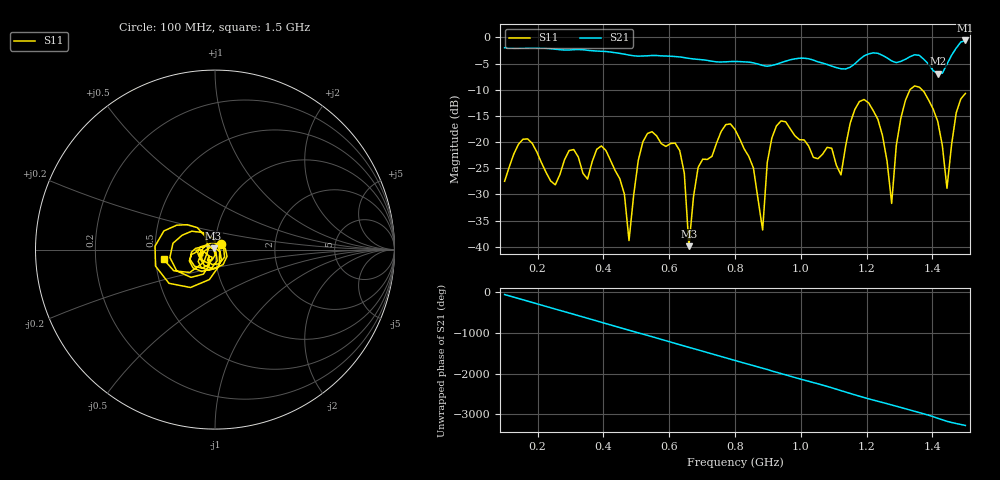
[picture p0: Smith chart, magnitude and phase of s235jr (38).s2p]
! NanoVNA-App
! Date: 2025-09-25 15:04:27
! Start: 100MHz Stop: 1,5GHz Points: 101
! S-Parameter data: F S11 S21 S12 S22
# Hz S RI R 50
!  Frequency  S11_Real  S11_Imag  S21_Real  S21_Imag  S12_Real  S12_Imag  S22_Real  S22_Imag
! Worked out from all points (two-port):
!   101 points, 100 MHz to 1.5 GHz, reference 50 ohm
!   highest |S21| = -0.59 dB at 1.5 GHz (marker M1); lowest = -6.9 dB at 1.416 GHz (marker M2)
!   |S21| within 3 dB of the highest: start of sweep to 599.1 MHz; 1.191 GHz to 1.253 GHz (61.61 MHz wide, 5.04 % of centre) (the widest 2 of 4)
!   lowest |S11| = -39.9 dB at 660 MHz (marker M3), VSWR 1.02, Z = 49.2 + j0.633 ohm
!   |S11| at or under -10 dB: start of sweep to 1.332 GHz; 1.368 GHz to end of sweep
!   S12 and S22 are empty: the file has one direction only
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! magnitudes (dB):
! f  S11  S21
! 100 MHz  -27.5  -2.0
! 156 MHz  -19.5  -2.1
! 338 MHz  -26.0  -2.4
! 408 MHz  -21.6  -2.7
! 478 MHz  -38.8  -3.4
! 520 MHz  -20.0  -3.6
! 576 MHz  -20.3  -3.5
! 632 MHz  -21.6  -3.7
! 660 MHz  -39.9  -4.0
! 688 MHz  -24.8  -4.2
! 800 MHz  -17.6  -4.6
! 884 MHz  -36.8  -5.4
! 926 MHz  -16.9  -5.1
! 1.038 GHz  -22.9  -4.3
! 1.122 GHz  -26.3  -6.0
! 1.192 GHz  -11.9  -3.5
! 1.248 GHz  -18.7  -3.4
! 1.276 GHz  -31.7  -4.5
! 1.332 GHz  -10.0  -3.7
! 1.416 GHz  -16.1  -6.9
! 1.444 GHz  -28.8  -5.1
! 1.5 GHz  -10.7  -0.6
